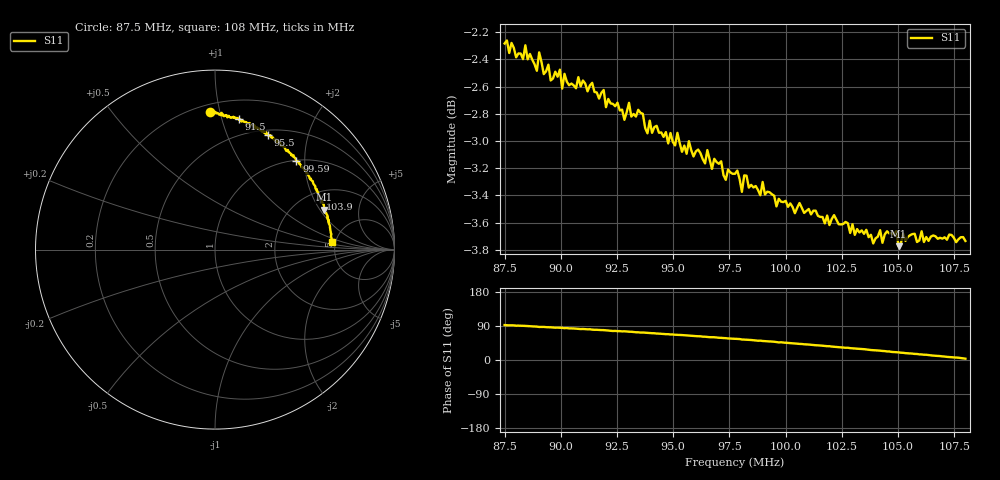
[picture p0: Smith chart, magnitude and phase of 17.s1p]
!Agilent Technologies,N5225A,MY51441201,A.09.90.19
!Agilent N5225A: A.09.90.19
!Date: Wednesday, April 25, 2018 14:52:10
!Correction: S11(Full 1 Port(1))
!S1P File: Measurement: S11:
# Hz S  dB  R 50
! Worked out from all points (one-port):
!   201 points, 87.5 MHz to 108 MHz, reference 50 ohm
!   lowest |S11| = -3.8 dB at 105 MHz (marker M1), VSWR 4.68, Z = 143 + j110 ohm
!   |S11| at or under -10 dB: nowhere
!   S11 on the Smith chart (normalised r, x): 87.5 MHz: 0.25, +0.93; 91.5 MHz: 0.36, +1.13; 95.5 MHz: 0.55, +1.41; 99.59 MHz: 1.02, +1.82; 103.9 MHz: 2.28, +2.24; 108 MHz: 4.63, +0.65
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8.75e7  -2.28 92.2
8.832e7  -2.40 90.2
8.84225e7  -2.30 89.9
8.8935e7  -2.48 88.1
8.90375e7  -2.35 87.2
8.955e7  -2.55 86.3
8.996e7  -2.48 85.1
9.00625e7  -2.61 84.7
9.0165e7  -2.51 84.1
9.12925e7  -2.59 81.2
9.14975e7  -2.64 79.7
9.201e7  -2.75 78.3
9.23175e7  -2.73 76.5
9.2625e7  -2.78 76.2
9.51875e7  -2.94 66.4
9.5495e7  -3.03 65.3
9.775e7  -3.24 56.1
9.80575e7  -3.37 54.1
9.82625e7  -3.26 53.7
9.9595e7  -3.48 47.4
1.003125e8  -3.49 44.0
1.02875e8  -3.68 31.3
1.039e8  -3.75 25.9
1.0472e8  -3.68 21.3
1.050275e8  -3.77 20.1
1.054375e8  -3.71 17.7
1.076925e8  -3.72 6.0
1.08e8  -3.74 3.6
